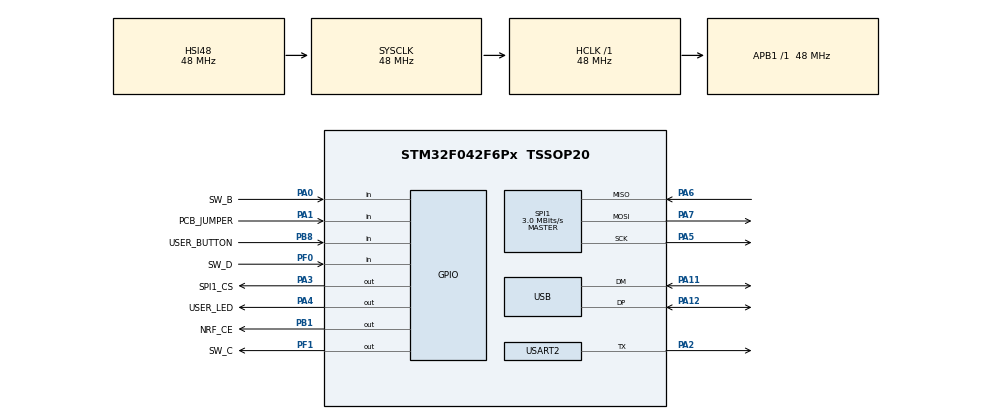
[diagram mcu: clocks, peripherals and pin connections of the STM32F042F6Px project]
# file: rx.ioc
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Mcu.Family=STM32F0
Mcu.Name=STM32F042F6Px
Mcu.Package=TSSOP20
NVIC.USB_IRQn=true\:0\:0\:false\:false\:true\:false
PA0.GPIO_Label=SW_B
PA0.GPIO_PuPd=GPIO_PULLDOWN
PA0.Signal=GPIO_Input
PA1.GPIO_Label=PCB_JUMPER
PA1.GPIO_PuPd=GPIO_PULLDOWN
PA1.Signal=GPIO_Input
PA11.Mode=Device
PA11.Signal=USB_DM
PA12.Mode=Device
PA12.Signal=USB_DP
PA13.Mode=Serial_Wire
PA13.Signal=SYS_SWDIO
PA14.Mode=Serial_Wire
PA14.Signal=SYS_SWCLK
PA2.Mode=Half_duplex(single_wire_mode)
PA2.Signal=USART2_TX
PA3.GPIO_Label=SPI1_CS
PA3.PinState=GPIO_PIN_SET
PA3.Signal=GPIO_Output
PA4.GPIO_Label=USER_LED
PA4.Signal=GPIO_Output
PA5.Mode=Full_Duplex_Master
PA5.Signal=SPI1_SCK
PA6.Mode=Full_Duplex_Master
PA6.Signal=SPI1_MISO
PA7.Mode=Full_Duplex_Master
PA7.Signal=SPI1_MOSI
PB1.GPIO_Label=NRF_CE
PB1.Signal=GPIO_Output
PB8.GPIO_Label=USER_BUTTON
PB8.Signal=GPIO_Input
PF0-OSC_IN.GPIO_Label=SW_D
PF0-OSC_IN.GPIO_PuPd=GPIO_PULLDOWN
PF0-OSC_IN.Signal=GPIO_Input
PF1-OSC_OUT.GPIO_Label=SW_C
PF1-OSC_OUT.PinState=GPIO_PIN_SET
PF1-OSC_OUT.Signal=GPIO_Output
ProjectManager.HeapSize=0x200
ProjectManager.StackSize=0x400
ProjectManager.TargetToolchain=MDK-ARM V5
RCC.AHBFreq_Value=48000000
RCC.APB1Freq_Value=48000000
RCC.APB1TimFreq_Value=48000000
RCC.HCLKFreq_Value=48000000
RCC.SYSCLKFreq_VALUE=48000000
RCC.SYSCLKSource=RCC_SYSCLKSOURCE_HSI48
SPI1.BaudRatePrescaler=SPI_BAUDRATEPRESCALER_16
SPI1.CalculateBaudRate=3.0 MBits/s
SPI1.DataSize=SPI_DATASIZE_8BIT
SPI1.Direction=SPI_DIRECTION_2LINES
SPI1.Mode=SPI_MODE_MASTER
SPI1.VirtualType=VM_MASTER
USART2.BaudRate=115200
USART2.Mode=MODE_TX
USART2.VirtualMode-Half_duplex(single_wire_mode)=VM_ASYNC
USB_DEVICE.CLASS_NAME_FS=HID
USB_DEVICE.VirtualMode=Hid
USB_DEVICE.VirtualModeFS=Hid_FS
VP_SYS_VS_PINREMAP.Mode=PINREMAP
VP_USB_DEVICE_VS_USB_DEVICE_HID_FS.Mode=HID_FS
board=custom

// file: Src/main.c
/**
  ******************************************************************************
  * @file           : main.c
  * @brief          : Main program body
  ******************************************************************************
  ** This notice applies to any and all portions of this file
  * that are not between comment pairs USER CODE BEGIN and
  * USER CODE END. Other portions of this file, whether
  * inserted by the user or by software development tools
  * are owned by their respective copyright owners.
  *
  * COPYRIGHT(c) 2018 STMicroelectronics
  *
  * Redistribution and use in source and binary forms, with or without modification,
  * are permitted provided that the following conditions are met:
  *   1. Redistributions of source code must retain the above copyright notice,
  *      this list of conditions and the following disclaimer.
  *   2. Redistributions in binary form must reproduce the above copyright notice,
  *      this list of conditions and the following disclaimer in the documentation
  *      and/or other materials provided with the distribution.
  *   3. Neither the name of STMicroelectronics nor the names of its contributors
  *      may be used to endorse or promote products derived from this software
  *      without specific prior written permission.
  *
  * THIS SOFTWARE IS PROVIDED BY THE COPYRIGHT HOLDERS AND CONTRIBUTORS "AS IS"
  * AND ANY EXPRESS OR IMPLIED WARRANTIES, INCLUDING, BUT NOT LIMITED TO, THE
  * IMPLIED WARRANTIES OF MERCHANTABILITY AND FITNESS FOR A PARTICULAR PURPOSE ARE
  * DISCLAIMED. IN NO EVENT SHALL THE COPYRIGHT HOLDER OR CONTRIBUTORS BE LIABLE
  * FOR ANY DIRECT, INDIRECT, INCIDENTAL, SPECIAL, EXEMPLARY, OR CONSEQUENTIAL
  * DAMAGES (INCLUDING, BUT NOT LIMITED TO, PROCUREMENT OF SUBSTITUTE GOODS OR
  * SERVICES; LOSS OF USE, DATA, OR PROFITS; OR BUSINESS INTERRUPTION) HOWEVER
  * CAUSED AND ON ANY THEORY OF LIABILITY, WHETHER IN CONTRACT, STRICT LIABILITY,
  * OR TORT (INCLUDING NEGLIGENCE OR OTHERWISE) ARISING IN ANY WAY OUT OF THE USE
  * OF THIS SOFTWARE, EVEN IF ADVISED OF THE POSSIBILITY OF SUCH DAMAGE.
  *
  ******************************************************************************
  */
#include "main.h"
#include "stm32f0xx_hal.h"

/* USER CODE BEGIN Includes */
#include "shared.h"
#include "nrf24.h"
#include "helpers.h"
#define NRF_PAYLOAD_SIZE 4
#define NRF_CHANNEL 120
/* USER CODE END Includes */

SPI_HandleTypeDef hspi1;

UART_HandleTypeDef huart2;

/* USER CODE BEGIN PV */
/* Private variables ---------------------------------------------------------*/

/* USER CODE END PV */

void SystemClock_Config(void);
static void MX_GPIO_Init(void);
static void MX_USART2_UART_Init(void);
static void MX_SPI1_Init(void);

/* USER CODE BEGIN PFP */
/* Private function prototypes -----------------------------------------------*/

/* USER CODE END PFP */

/* USER CODE BEGIN 0 */
int fputc(int ch, FILE *f)
{
    HAL_UART_Transmit(&huart2, (unsigned char *)&ch, 1, 10);
    return ch;
}

uint8_t nrf_status;
uint8_t data_array[NRF_PAYLOAD_SIZE];
uint8_t tx_address[5] = {0xFF,0xFF,0xFF,0xFF,0xFF};
uint8_t rx_address[5] = {0xDE,0xAD,0xBE,0xEF,0xBB};

/* USER CODE END 0 */

int main(void)
{

  /* MCU Configuration----------------------------------------------------------*/

  /* Reset of all peripherals, Initializes the Flash interface and the Systick. */
  HAL_Init();

  /* Configure the system clock */
  SystemClock_Config();

  /* Initialize all configured peripherals */
  MX_GPIO_Init();
  MX_USART2_UART_Init();
  MX_SPI1_Init();
  /* USER CODE BEGIN 2 */

  printf("initializing NRF...\n");
  nrf24_init();
  nrf24_config(NRF_CHANNEL, NRF_PAYLOAD_SIZE);
  nrf24_tx_address(tx_address);
  nrf24_rx_address(rx_address);
  printf("done\n");

  /* USER CODE END 2 */

  /* Infinite loop */
  while (1)
  {

  /* USER CODE BEGIN 3 */
    if(nrf24_dataReady())
    {
        nrf24_getData(data_array);
        printf("> ");
        printf("%d ",data_array[0]);
        printf("%d ",data_array[1]);
        printf("%d ",data_array[2]);
        printf("%d\n",data_array[3]);
        HAL_GPIO_TogglePin(USER_LED_GPIO_Port, USER_LED_Pin);
    }

  }
  /* USER CODE END 3 */

}

void SystemClock_Config(void)
{

  RCC_OscInitTypeDef RCC_OscInitStruct;
  RCC_ClkInitTypeDef RCC_ClkInitStruct;

    /**Initializes the CPU, AHB and APB busses clocks
    */
  RCC_OscInitStruct.OscillatorType = RCC_OSCILLATORTYPE_HSI48;
  RCC_OscInitStruct.HSI48State = RCC_HSI48_ON;
  RCC_OscInitStruct.PLL.PLLState = RCC_PLL_NONE;
  if (HAL_RCC_OscConfig(&RCC_OscInitStruct) != HAL_OK)
  {
    _Error_Handler(__FILE__, __LINE__);
  }

    /**Initializes the CPU, AHB and APB busses clocks
    */
  RCC_ClkInitStruct.ClockType = RCC_CLOCKTYPE_HCLK|RCC_CLOCKTYPE_SYSCLK
                              |RCC_CLOCKTYPE_PCLK1;
  RCC_ClkInitStruct.SYSCLKSource = RCC_SYSCLKSOURCE_HSI48;
  RCC_ClkInitStruct.AHBCLKDivider = RCC_SYSCLK_DIV1;
  RCC_ClkInitStruct.APB1CLKDivider = RCC_HCLK_DIV1;

  if (HAL_RCC_ClockConfig(&RCC_ClkInitStruct, FLASH_LATENCY_1) != HAL_OK)
  {
    _Error_Handler(__FILE__, __LINE__);
  }

    /**Configure the Systick interrupt time
    */
  HAL_SYSTICK_Config(HAL_RCC_GetHCLKFreq()/1000);

    /**Configure the Systick
    */
  HAL_SYSTICK_CLKSourceConfig(SYSTICK_CLKSOURCE_HCLK);

  /* SysTick_IRQn interrupt configuration */
  HAL_NVIC_SetPriority(SysTick_IRQn, 0, 0);
}

/* SPI1 init function */
static void MX_SPI1_Init(void)
{

  /* SPI1 parameter configuration*/
  hspi1.Instance = SPI1;
  hspi1.Init.Mode = SPI_MODE_MASTER;
  hspi1.Init.Direction = SPI_DIRECTION_2LINES;
  hspi1.Init.DataSize = SPI_DATASIZE_8BIT;
  hspi1.Init.CLKPolarity = SPI_POLARITY_LOW;
  hspi1.Init.CLKPhase = SPI_PHASE_1EDGE;
  hspi1.Init.NSS = SPI_NSS_SOFT;
  hspi1.Init.BaudRatePrescaler = SPI_BAUDRATEPRESCALER_16;
  hspi1.Init.FirstBit = SPI_FIRSTBIT_MSB;
  hspi1.Init.TIMode = SPI_TIMODE_DISABLE;
  hspi1.Init.CRCCalculation = SPI_CRCCALCULATION_DISABLE;
  hspi1.Init.CRCPolynomial = 7;
  hspi1.Init.CRCLength = SPI_CRC_LENGTH_DATASIZE;
  hspi1.Init.NSSPMode = SPI_NSS_PULSE_ENABLE;
  if (HAL_SPI_Init(&hspi1) != HAL_OK)
  {
    _Error_Handler(__FILE__, __LINE__);
  }

}

/* USART2 init function */
static void MX_USART2_UART_Init(void)
{

  huart2.Instance = USART2;
  huart2.Init.BaudRate = 115200;
  huart2.Init.WordLength = UART_WORDLENGTH_8B;
  huart2.Init.StopBits = UART_STOPBITS_1;
  huart2.Init.Parity = UART_PARITY_NONE;
  huart2.Init.Mode = UART_MODE_TX;
  huart2.Init.HwFlowCtl = UART_HWCONTROL_NONE;
  huart2.Init.OverSampling = UART_OVERSAMPLING_16;
  huart2.Init.OneBitSampling = UART_ONE_BIT_SAMPLE_DISABLE;
  huart2.AdvancedInit.AdvFeatureInit = UART_ADVFEATURE_NO_INIT;
  if (HAL_HalfDuplex_Init(&huart2) != HAL_OK)
  {
    _Error_Handler(__FILE__, __LINE__);
  }

}

/** Configure pins as
        * Analog
        * Input
        * Output
        * EVENT_OUT
        * EXTI
*/
static void MX_GPIO_Init(void)
{

  GPIO_InitTypeDef GPIO_InitStruct;

  /* GPIO Ports Clock Enable */
  __HAL_RCC_GPIOB_CLK_ENABLE();
  __HAL_RCC_GPIOF_CLK_ENABLE();
  __HAL_RCC_GPIOA_CLK_ENABLE();

  /*Configure GPIO pin Output Level */
  HAL_GPIO_WritePin(SW_C_GPIO_Port, SW_C_Pin, GPIO_PIN_SET);

  /*Configure GPIO pin Output Level */
  HAL_GPIO_WritePin(SPI1_CS_GPIO_Port, SPI1_CS_Pin, GPIO_PIN_SET);

  /*Configure GPIO pin Output Level */
  HAL_GPIO_WritePin(USER_LED_GPIO_Port, USER_LED_Pin, GPIO_PIN_RESET);

  /*Configure GPIO pin Output Level */
  HAL_GPIO_WritePin(NRF_CE_GPIO_Port, NRF_CE_Pin, GPIO_PIN_RESET);

  /*Configure GPIO pin : USER_BUTTON_Pin */
  GPIO_InitStruct.Pin = USER_BUTTON_Pin;
  GPIO_InitStruct.Mode = GPIO_MODE_INPUT;
  GPIO_InitStruct.Pull = GPIO_NOPULL;
  HAL_GPIO_Init(USER_BUTTON_GPIO_Port, &GPIO_InitStruct);

  /*Configure GPIO pin : SW_D_Pin */
  GPIO_InitStruct.Pin = SW_D_Pin;
  GPIO_InitStruct.Mode = GPIO_MODE_INPUT;
  GPIO_InitStruct.Pull = GPIO_PULLDOWN;
  HAL_GPIO_Init(SW_D_GPIO_Port, &GPIO_InitStruct);

  /*Configure GPIO pin : SW_C_Pin */
  GPIO_InitStruct.Pin = SW_C_Pin;
  GPIO_InitStruct.Mode = GPIO_MODE_OUTPUT_PP;
  GPIO_InitStruct.Pull = GPIO_NOPULL;
  GPIO_InitStruct.Speed = GPIO_SPEED_FREQ_LOW;
  HAL_GPIO_Init(SW_C_GPIO_Port, &GPIO_InitStruct);

  /*Configure GPIO pins : SW_B_Pin PCB_JUMPER_Pin */
  GPIO_InitStruct.Pin = SW_B_Pin|PCB_JUMPER_Pin;
  GPIO_InitStruct.Mode = GPIO_MODE_INPUT;
  GPIO_InitStruct.Pull = GPIO_PULLDOWN;
  HAL_GPIO_Init(GPIOA, &GPIO_InitStruct);

  /*Configure GPIO pins : SPI1_CS_Pin USER_LED_Pin */
  GPIO_InitStruct.Pin = SPI1_CS_Pin|USER_LED_Pin;
  GPIO_InitStruct.Mode = GPIO_MODE_OUTPUT_PP;
  GPIO_InitStruct.Pull = GPIO_NOPULL;
  GPIO_InitStruct.Speed = GPIO_SPEED_FREQ_LOW;
  HAL_GPIO_Init(GPIOA, &GPIO_InitStruct);

  /*Configure GPIO pin : NRF_CE_Pin */
  GPIO_InitStruct.Pin = NRF_CE_Pin;
  GPIO_InitStruct.Mode = GPIO_MODE_OUTPUT_PP;
  GPIO_InitStruct.Pull = GPIO_NOPULL;
  GPIO_InitStruct.Speed = GPIO_SPEED_FREQ_LOW;
  HAL_GPIO_Init(NRF_CE_GPIO_Port, &GPIO_InitStruct);

}

void _Error_Handler(char *file, int line)
{
  while(1)
  {
  }
}

/************************ (C) COPYRIGHT STMicroelectronics *****END OF FILE****/
